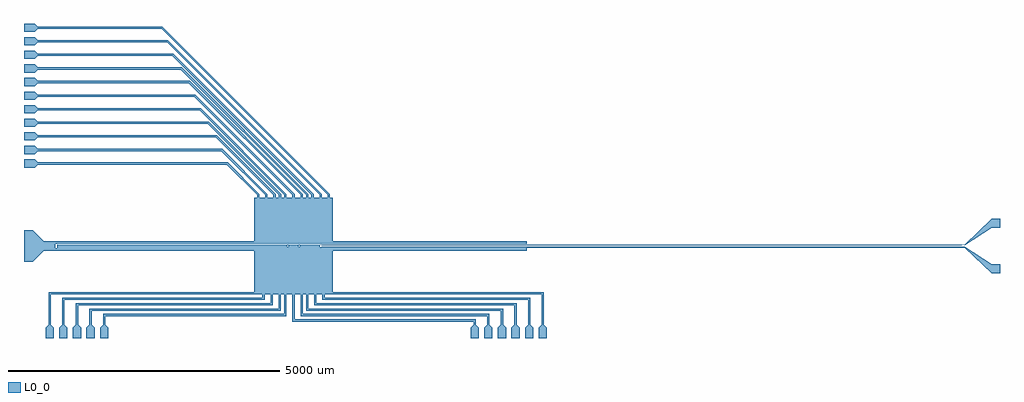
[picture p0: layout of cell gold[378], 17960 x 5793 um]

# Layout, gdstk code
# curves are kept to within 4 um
import gdstk
lib = gdstk.Library(unit=1e-6, precision=1e-09)
def P(c, l, *ps):  # polygons
    for p in ps: c.add(gdstk.Polygon(p, *l))
L0_0 = (0, 0)

gold_378_ = lib.new_cell('gold[378]')
P(gold_378_, L0_0, [(13347.5,-500),(12848,-28),(1288.816,-28),(1280.492,-34),(-3851.5,-34),(-3851.5,-22),(1018.5,-22),(1018.5,-16),(12848,-16),(13347.5,-334),(13498,-334),(13498,-500)],
  [(-224,95),(-224,889),(-172,889),(-172,940.716),(-730.284,1499),(-4212,1499),(-4261.999,1444),(-4462,1444),(-4462,1594),(-4261.999,1594),(-4212,1539),(-713.716,1539),(-132,957.284),(-132,889),(-80,889),(-80,95)],
  [(-4062,-1699),(-4062,-1498.999),(-4007,-1449),(-4007,-849),(-224,-849),(-224,-95),(-80,-95),(-80,-889),(-3967,-889),(-3967,-1449),(-3912,-1498.999),(-3912,-1699)],
  [(-74,95),(-74,889),(-22,889),(-22,940.716),(-830.284,1749),(-4212,1749),(-4261.999,1694),(-4462,1694),(-4462,1844),(-4261.999,1844),(-4212,1789),(-813.716,1789),(18,957.284),(18,889),(70,889),(70,95)],
  [(-3812,-1699),(-3812,-1498.999),(-3757,-1449),(-3757,-949),(-73.63,-949),(-74,-95),(70,-95),(70,-889),(-33.63,-889),(-33.63,-989),(-3717,-989),(-3717,-1449),(-3662,-1498.999),(-3662,-1699)],
  [(76,95),(76,889),(128,889),(128,940.716),(-930.284,1999),(-4212,1999),(-4261.999,1944),(-4462,1944),(-4462,2094),(-4261.999,2094),(-4212,2039),(-913.716,2039),(168,957.284),(168,889),(220,889),(220,95)],
  [(-3562,-1699),(-3562,-1498.999),(-3507,-1449),(-3507,-1049),(76,-1049),(76,-95),(220,-95),(220,-889),(116,-889),(116,-1089),(-3467,-1089),(-3467,-1449),(-3412,-1498.999),(-3412,-1699)],
  [(226,95),(228,940.716),(-1080.284,2249),(-4212,2249),(-4261.999,2194),(-4462,2194),(-4462,2344),(-4261.999,2344),(-4212,2289),(-1063.716,2289),(268,957.284),(270,95)],
  [(-3312,-1699),(-3312,-1498.999),(-3257,-1449),(-3257,-1149),(226,-1149),(226,-95),(270,-95),(266,-1189),(-3217,-1189),(-3217,-1449),(-3162,-1498.999),(-3162,-1699)],
  [(276,95),(276,889),(328,889),(328,940.716),(-1230.284,2499),(-4212,2499),(-4261.999,2444),(-4462,2444),(-4462,2594),(-4261.999,2594),(-4212,2539),(-1213.716,2539),(368,957.284),(368,889),(420,889),(420,95)],
  [(-3062,-1699),(-3062,-1498.999),(-3007,-1449),(-3007,-1249),(328,-1249),(328,-889),(276,-889),(276,-95),(420,-95),(420,-889),(368,-889),(368,-1289),(-2967,-1289),(-2967,-1449),(-2912,-1498.999),(-2912,-1699)],
  [(426,95),(426,889),(478,889),(478,940.716),(-1330.284,2749),(-4212,2749),(-4261.999,2694),(-4462,2694),(-4462,2844),(-4261.999,2844),(-4212,2789),(-1313.716,2789),(518,957.284),(518,889),(570,889),(570,95)],
  [(576,95),(576,889),(628,889),(628,940.716),(-1430.284,2999),(-4212,2999),(-4261.999,2944),(-4462,2944),(-4462,3094),(-4261.999,3094),(-4212,3039),(-1413.716,3039),(668,957.284),(668,889),(720,889),(720,95)],
  [(726,95),(728,940.716),(-1580.284,3249),(-4212,3249),(-4261.999,3194),(-4462,3194),(-4462,3344),(-4261.999,3344),(-4212,3289),(-1563.716,3289),(768,957.284),(770,95)],
  [(776,95),(776,889),(828,889),(828,940.716),(-1730.284,3499),(-4212,3499),(-4261.999,3444),(-4462,3444),(-4462,3594),(-4261.999,3594),(-4212,3539),(-1713.716,3539),(868,957.284),(868,889),(920,889),(920,95)],
  [(926,95),(926,889),(978,889),(978,940.716),(-1830.284,3749),(-4212,3749),(-4261.999,3694),(-4462,3694),(-4462,3844),(-4261.999,3844),(-4212,3789),(-1813.716,3789),(1018,957.284),(1018,889),(1070,889),(1070,95)],
  [(1076,95),(1076,889),(1128,889),(1128,940.716),(-1930.284,3999),(-4212,3999),(-4261.999,3944),(-4462,3944),(-4462,4094),(-4261.999,4094),(-4212,4039),(-1913.716,4039),(1168,957.284),(1168,889),(1220,889),(1220,95)],
  [(3758,-1699),(3758,-1498.999),(3813,-1449),(3813,-1389),(478,-1389),(478,-889),(426,-889),(426,-95),(570,-95),(570,-889),(518,-889),(518,-1349),(3853,-1349),(3853,-1449),(3908,-1498.999),(3908,-1699)],
  [(4008,-1699),(4008,-1498.999),(4063,-1449),(4063,-1289),(628,-1289),(628,-889),(576,-889),(576,-95),(720,-95),(720,-889),(668,-889),(668,-1249),(4103,-1249),(4103,-1449),(4158,-1498.999),(4158,-1699)],
  [(4258,-1699),(4258,-1498.999),(4313,-1449),(4313,-1189),(730,-1189),(726,-95),(770,-95),(770,-1149),(4353,-1149),(4353,-1449),(4408,-1498.999),(4408,-1699)],
  [(4508,-1699),(4508,-1498.999),(4563,-1449),(4563,-1089),(880,-1089),(880,-889),(776,-889),(776,-95),(920,-95),(920,-1049),(4603,-1049),(4603,-1449),(4658,-1498.999),(4658,-1699)],
  [(-4462,-289),(-4462,289),(-4298,289),(-4102,89),(4787.5,89),(4787.5,40),(-3891.5,40),(-3891.5,-40),(4787.5,-40),(4787.5,-89),(-4102,-89),(-4298,-289)],
  [(4758,-1699),(4758,-1498.999),(4813,-1449),(4813,-989),(1029.63,-989),(1029.63,-889),(926,-889),(926,-95),(1070,-95),(1069.63,-949),(4853,-949),(4853,-1449),(4908,-1498.999),(4908,-1699)],
  [(5008,-1699),(5008,-1498.999),(5063,-1449),(5063,-889),(1076,-889),(1076,-95),(1220,-95),(1220,-849),(5103,-849),(5103,-1449),(5158,-1498.999),(5158,-1699)],
  [(-3851.5,-19),(-3851.5,28.096),(342.5,28.096),(342.5,-1.5),(375.167,-1.5),(409.589,-14.286),(409.589,14.286),(375.167,1.5),(345.5,1.5),(345.5,28.096),(650.5,28.096),(650.5,1.5),(620.833,1.5),(586.411,14.286),(586.411,-14.286),(620.833,-1.5),(653.5,-1.5),(653.5,28.096),(12848,28),(13347.5,500),(13498,500),(13498,334),(13347.5,334),(12848,16),(1018,16.096),(1018,20.096),(978.5,20.096),(978.5,-19)])

lib.write_gds('gold_378_.gds')
